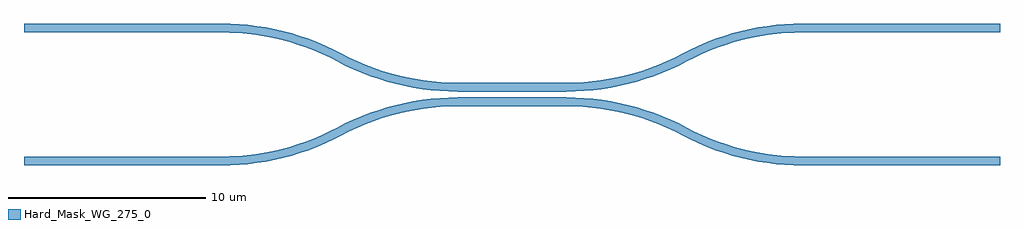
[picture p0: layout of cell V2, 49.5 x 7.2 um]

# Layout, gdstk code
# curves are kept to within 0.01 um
import gdstk
lib = gdstk.Library(unit=1e-6, precision=1e-09)
def R(c, l, rs):  # rectangles x0, y0, x1, y1
    for r in rs: c.add(gdstk.rectangle(r[:2], r[2:], *l))
def P(c, l, *ps):  # polygons
    for p in ps: c.add(gdstk.Polygon(p, *l))
Hard_Mask_WG_275_0 = (275, 0)

c_v2 = lib.new_cell('V2')
R(c_v2, Hard_Mask_WG_275_0, [(0,0,10,0.45), (39.5,0,49.5,0.45), (22,3,27.5,3.45), (22,3.75,27.5,4.2), (0,6.75,10,7.2), (39.5,6.75,49.5,7.2)])
P(c_v2, Hard_Mask_WG_275_0, [(39.5,0),(39.045,0.007),(38.14,0.07),(37.241,0.197),(36.353,0.386),(35.481,0.637),(34.628,0.948),(33.798,1.318),(33.394,1.526),(33.606,1.924),(34.394,1.538),(35.206,1.208),(35.62,1.065),(36.462,0.823),(37.319,0.641),(38.187,0.518),(39.062,0.457),(39.5,0.45)],
  [(33.394,1.526),(32.606,1.912),(31.794,2.242),(31.38,2.385),(30.538,2.627),(29.681,2.809),(28.813,2.932),(27.938,2.993),(27.5,3),(27.5,3.45),(27.955,3.443),(28.86,3.38),(29.759,3.253),(30.647,3.064),(31.519,2.813),(32.372,2.502),(32.79,2.324),(33.606,1.924)],
  [(33.606,5.276),(33.394,5.674),(34.209,6.074),(34.627,6.252),(35.48,6.563),(36.353,6.814),(37.241,7.003),(38.141,7.13),(39.046,7.193),(39.5,7.2),(39.5,6.75),(39.061,6.743),(38.186,6.682),(37.318,6.559),(36.461,6.377),(35.619,6.134),(34.796,5.834),(33.996,5.476)],
  [(27.5,3.75),(27.5,4.2),(27.939,4.207),(28.814,4.268),(29.682,4.391),(30.539,4.573),(31.381,4.816),(32.204,5.116),(33.004,5.474),(33.394,5.674),(33.606,5.276),(32.791,4.876),(32.373,4.698),(31.52,4.387),(30.647,4.136),(29.759,3.947),(28.859,3.82),(27.954,3.757)],
  [(16.106,1.526),(15.894,1.924),(16.709,2.324),(17.127,2.502),(17.98,2.813),(18.853,3.064),(19.741,3.253),(20.641,3.38),(21.546,3.443),(22,3.45),(22,3),(21.561,2.993),(20.686,2.932),(19.818,2.809),(18.961,2.627),(18.119,2.384),(17.296,2.084),(16.496,1.726)],
  [(10,0),(10,0.45),(10.439,0.457),(11.314,0.518),(12.182,0.641),(13.039,0.823),(13.881,1.066),(14.704,1.366),(15.504,1.724),(15.894,1.924),(16.106,1.526),(15.291,1.126),(14.873,0.948),(14.02,0.637),(13.147,0.386),(12.259,0.197),(11.359,0.07),(10.454,0.007)],
  [(22,3.75),(21.545,3.757),(20.64,3.82),(19.741,3.947),(18.853,4.136),(17.981,4.387),(17.128,4.698),(16.298,5.068),(15.894,5.276),(16.106,5.674),(16.894,5.288),(17.706,4.958),(18.12,4.815),(18.962,4.573),(19.819,4.391),(20.687,4.268),(21.562,4.207),(22,4.2)],
  [(15.894,5.276),(15.106,5.662),(14.294,5.992),(13.88,6.135),(13.038,6.377),(12.181,6.559),(11.313,6.682),(10.438,6.743),(10,6.75),(10,7.2),(10.455,7.193),(11.36,7.13),(12.259,7.003),(13.147,6.814),(14.019,6.563),(14.872,6.252),(15.29,6.074),(16.106,5.674)])

lib.write_gds('V2.gds')
